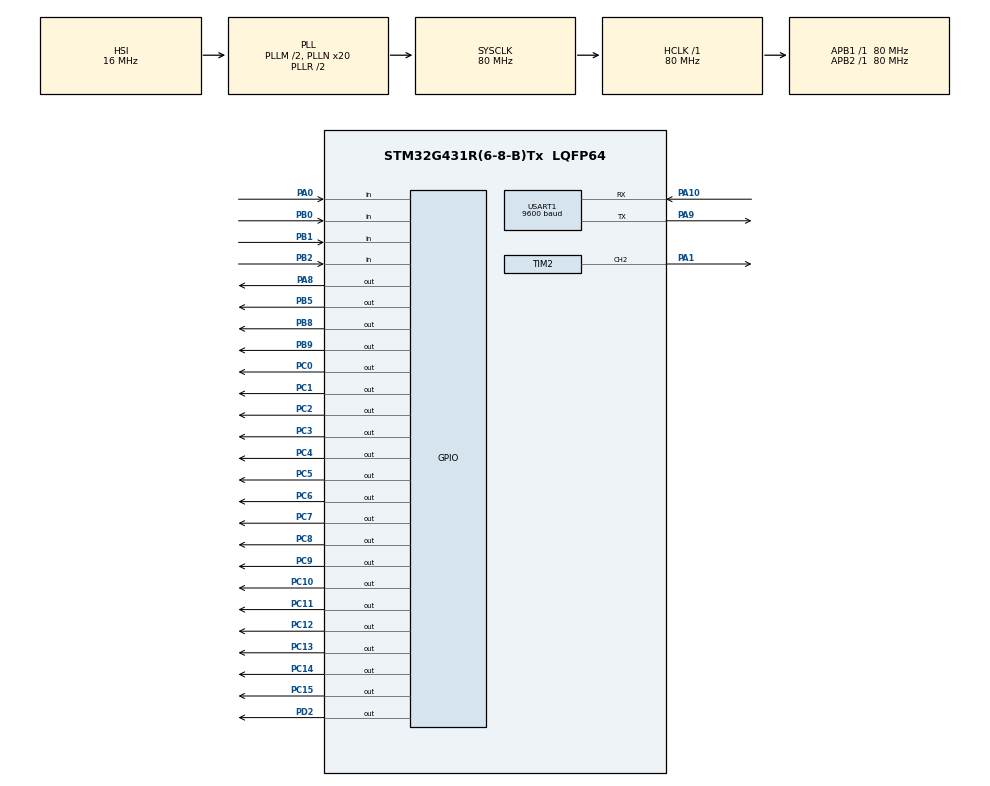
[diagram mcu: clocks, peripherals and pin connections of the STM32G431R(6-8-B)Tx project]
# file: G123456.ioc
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Mcu.Family=STM32G4
Mcu.Name=STM32G431R(6-8-B)Tx
Mcu.Package=LQFP64
NVIC.PriorityGroup=NVIC_PRIORITYGROUP_4
NVIC.TIM4_IRQn=true\:0\:0\:false\:false\:true\:true\:true
NVIC.USART1_IRQn=true\:0\:0\:false\:false\:true\:true\:true
PA0.Signal=GPIO_Input
PA1.Signal=S_TIM2_CH2
PA10.Mode=Asynchronous
PA10.Signal=USART1_RX
PA8.Signal=GPIO_Output
PA9.Mode=Asynchronous
PA9.Signal=USART1_TX
PB0.Signal=GPIO_Input
PB1.Signal=GPIO_Input
PB2.Signal=GPIO_Input
PB5.Signal=GPIO_Output
PB8-BOOT0.Signal=GPIO_Output
PB9.Signal=GPIO_Output
PC0.Signal=GPIO_Output
PC1.Signal=GPIO_Output
PC10.Signal=GPIO_Output
PC11.Signal=GPIO_Output
PC12.Signal=GPIO_Output
PC13.Signal=GPIO_Output
PC14-OSC32_IN.Signal=GPIO_Output
PC15-OSC32_OUT.Signal=GPIO_Output
PC2.Signal=GPIO_Output
PC3.Signal=GPIO_Output
PC4.Signal=GPIO_Output
PC5.Signal=GPIO_Output
PC6.Signal=GPIO_Output
PC7.Signal=GPIO_Output
PC8.Signal=GPIO_Output
PC9.Signal=GPIO_Output
PD2.Signal=GPIO_Output
PF0-OSC_IN.Mode=HSE-External-Oscillator
PF0-OSC_IN.Signal=RCC_OSC_IN
PF1-OSC_OUT.Mode=HSE-External-Oscillator
PF1-OSC_OUT.Signal=RCC_OSC_OUT
ProjectManager.HeapSize=0x200
ProjectManager.StackSize=0x400
ProjectManager.TargetToolchain=MDK-ARM V5
RCC.ADC12Freq_Value=80000000
RCC.AHBFreq_Value=80000000
RCC.APB1Freq_Value=80000000
RCC.APB1TimFreq_Value=80000000
RCC.APB2Freq_Value=80000000
RCC.APB2TimFreq_Value=80000000
RCC.CortexFreq_Value=80000000
RCC.EXTERNAL_CLOCK_VALUE=12288000
RCC.HCLKFreq_Value=80000000
RCC.HSE_VALUE=24000000
RCC.HSI48_VALUE=48000000
RCC.HSI_VALUE=16000000
RCC.LSE_VALUE=32768
RCC.PLLM=RCC_PLLM_DIV2
RCC.PLLN=20
RCC.SYSCLKFreq_VALUE=80000000
RCC.SYSCLKSource=RCC_SYSCLKSOURCE_PLLCLK
RCC.USBFreq_Value=80000000
RCC.VCOOutputFreq_Value=160000000
SH.S_TIM2_CH2.0=TIM2_CH2,PWM Generation2 CH2
TIM2.Channel-PWM\ Generation2\ CH2=TIM_CHANNEL_2
TIM2.PeriodNoDither=500-1
TIM2.Prescaler=79
TIM2.PulseNoDither_2=25
TIM4.PeriodNoDither=10000-1
TIM4.Prescaler=79
USART1.BaudRate=9600
USART1.VirtualMode-Asynchronous=VM_ASYNC
VP_SYS_VS_DBSignals.Mode=DisableDeadBatterySignals
VP_TIM4_VS_ClockSourceINT.Mode=Internal
board=custom

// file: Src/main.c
/* USER CODE BEGIN Header */
/**
  ******************************************************************************
  * @file           : main.c
  * @brief          : Main program body
  ******************************************************************************
  * @attention
  *
  * <h2><center>&copy; Copyright (c) 2021 STMicroelectronics.
  * All rights reserved.</center></h2>
  *
  * This software component is licensed by ST under BSD 3-Clause license,
  * the "License"; You may not use this file except in compliance with the
  * License. You may obtain a copy of the License at:
  *                        opensource.org/licenses/BSD-3-Clause
  *
  ******************************************************************************
  */
/* USER CODE END Header */

#include "main.h"
#include "tim.h"
#include "usart.h"
#include "gpio.h"

/* USER CODE BEGIN Includes */
#include "lcd.h"
#include "key.h"
#include "stdio.h"
#include "string.h"
#include "i2c.h"
#include "led.h"
/* USER CODE END Includes */

/* USER CODE BEGIN PTD */
extern struct keys key[4];
/* USER CODE END PTD */

void SystemClock_Config(void);

/* USER CODE BEGIN 0 */
#define DISPLAY_SHOP    0
#define DISPALY_PRICE   1
#define DISPALY_REP     2
u8      display_mode =      DISPLAY_SHOP;
u8      x_pnum = 0   ,      y_pnum = 0;
u8      x_pnum_uart = 0 ,   y_pnum_uart = 0;
u8      x_price = 10,       y_price = 10;
u8      x_store = 10,       y_store = 10;
void LCD_Process(void)
{
    char display_buf[20];
    if(display_mode == DISPLAY_SHOP)
    {
        LCD_DisplayStringLine(Line1,(unsigned char *)"        SHOP        ");
        sprintf(display_buf,"     X:%d    ",x_pnum);
        LCD_DisplayStringLine(Line3,(unsigned char *)display_buf);
        sprintf(display_buf,"     Y:%d    ",y_pnum);
        LCD_DisplayStringLine(Line4,(unsigned char *)display_buf);
    }
    else if(display_mode == DISPALY_PRICE)
    {
        LCD_DisplayStringLine(Line1,(unsigned char *)"        PRICE        ");
        sprintf(display_buf,"     X:%3.1f    ",x_price/10.0f);
        LCD_DisplayStringLine(Line3,(unsigned char *)display_buf);
        sprintf(display_buf,"     Y:%3.1f    ",y_price/10.0f);
        LCD_DisplayStringLine(Line4,(unsigned char *)display_buf);
    }
    else
    {
        LCD_DisplayStringLine(Line1,(unsigned char *)"        REP        ");
        sprintf(display_buf,"     X:%d    ",x_store);
        LCD_DisplayStringLine(Line3,(unsigned char *)display_buf);
        sprintf(display_buf,"     Y:%d    ",y_store);
        LCD_DisplayStringLine(Line4,(unsigned char *)display_buf);
    }
}

_Bool   uart_flag = 0;
_Bool   led_flag = 0;
float   all_cost = 0;
void KEY_Process(void)
{
    if(key[0].key_com == 1)
    {
        display_mode = (display_mode+1) % 3;
        key[0].key_com = 0;
    }
    if(key[1].key_com == 1)
    {
        if(display_mode == DISPLAY_SHOP)
            x_pnum = (x_pnum + 1) % (x_store + 1);
        else if(display_mode == DISPALY_PRICE)
        {
            x_price += 1;
            if(x_price > 20)
                x_price = 10;
            EEPROM_Write(0x02,x_price);
        }
        else
        {
            x_store += 1;
            EEPROM_Write(0x00,x_store);
        }
        key[1].key_com = 0;
    }
    if(key[2].key_com == 1)
    {
        if(display_mode == DISPLAY_SHOP)
            y_pnum = (y_pnum + 1) % (y_store + 1);
        else if(display_mode == DISPALY_PRICE)
        {
            y_price += 1;
            if(y_price > 20)
                y_price = 10;
            EEPROM_Write(0x03,y_price);
        }
        else
        {
            y_store += 1;
            EEPROM_Write(0x01,y_store);
        }
        key[2].key_com = 0;
    }
    if(key[3].key_com == 1)
    {
         if(display_mode == DISPLAY_SHOP)
         {
             x_store    -= x_pnum;
             y_store    -= y_pnum;
             all_cost    = x_pnum * x_price + y_pnum * y_price;
             x_pnum_uart = x_pnum;
             y_pnum_uart = y_pnum;
             x_pnum      = 0;
             y_pnum      = 0;
             EEPROM_Write(0x00,x_store);
             HAL_Delay(10);
             EEPROM_Write(0x01,y_store);
             uart_flag   = 1;
             led_flag    = 1;
         }
         key[3].key_com = 0;
    }
}

u8  rx_buf[2];
u8  rx_dat;
u8  rx_pointer;
u32 uartTick = 0;
void HAL_UART_RxCpltCallback(UART_HandleTypeDef *huart)
{
    uartTick = uwTick;
    rx_buf[rx_pointer++] = rx_dat;
    HAL_UART_Receive_IT(&huart1, &rx_dat, 1);
}

void RxIdle_Process(void)
{
    if(uwTick - uartTick < 50) return;
    uartTick = uwTick;

    if(uart_flag == 1)
    {
        char text[20];
        sprintf(text,"X:%d,Y:%d,Z:%3.1f\r\n",x_pnum_uart,y_pnum_uart,all_cost/10.0f);
        HAL_UART_Transmit(&huart1, (u8*)text, strlen(text), 50);
        uart_flag = 0;
    }
    if(rx_pointer == 1)
    {
        if(rx_buf[0] == '?')
        {
            char text[20];
            sprintf(text,"X:%3.1f,Y:%3.1f\r\n",x_price/10.0f,y_price/10.0f);
            HAL_UART_Transmit(&huart1, (u8*)text, strlen(text), 50);
        }
    }
    rx_pointer = 0;
    memset(&rx_buf,0,2);
}

u8  led_contrl = 0;
u32 ledTick = 0;
void LED_Process(void)
{
    if(uwTick - ledTick < 100) return;
    ledTick = uwTick;
    if (led_flag == 1)
        led_contrl |= 0x01;
    if(x_store == 0 && y_store == 0)
        led_contrl ^= 0x02;
    else
        led_contrl &= ~0x02;
    LED_Contrl(led_contrl);
}

u16 led_time;
void SysTick_Handler(void)
{
  HAL_IncTick();
  if (led_flag == 1)
  {
      led_time++;
      TIM2->CCR1 = 150;
      if(led_time >= 5000)
      {
          led_contrl &= ~0x01;
          TIM2->CCR1 = 25;
          led_time = 0;
          led_flag = 0;
      }
  }
}
/* USER CODE END 0 */

int main(void)
{

  /* MCU Configuration--------------------------------------------------------*/

  /* Reset of all peripherals, Initializes the Flash interface and the Systick. */
  HAL_Init();

  /* Configure the system clock */
  SystemClock_Config();

  /* Initialize all configured peripherals */
  MX_GPIO_Init();
  MX_TIM4_Init();
  MX_USART1_UART_Init();
  MX_TIM2_Init();
  /* USER CODE BEGIN 2 */
  I2CInit();
	if(EEPROM_Read(0xf0) != 0xaa)
    {
        EEPROM_Write(0xf0,0xaa);
        EEPROM_Write(0x00,x_store);
        EEPROM_Write(0x01,y_store);
        EEPROM_Write(0x02,x_price);
        EEPROM_Write(0x03,y_price);
    }
    x_store = EEPROM_Read(0x00);
    y_store = EEPROM_Read(0x01);
    x_price = EEPROM_Read(0x02);
    y_price = EEPROM_Read(0x03);

	LCD_Init();
    LCD_Clear(Black);
	LCD_SetBackColor(Black);
	LCD_SetTextColor(White);
	HAL_UART_Receive_IT(&huart1, &rx_dat, 1);
    HAL_TIM_Base_Start_IT(&htim4);
  /* USER CODE END 2 */

  /* Infinite loop */
  while (1)
  {

    /* USER CODE BEGIN 3 */
      LCD_Process();
      KEY_Process();
      LED_Process();
      RxIdle_Process();
  }
  /* USER CODE END 3 */
}

void SystemClock_Config(void)
{
  RCC_OscInitTypeDef RCC_OscInitStruct = {0};
  RCC_ClkInitTypeDef RCC_ClkInitStruct = {0};
  RCC_PeriphCLKInitTypeDef PeriphClkInit = {0};

  /** Configure the main internal regulator output voltage
  */
  HAL_PWREx_ControlVoltageScaling(PWR_REGULATOR_VOLTAGE_SCALE1);
  /** Initializes the CPU, AHB and APB busses clocks
  */
  RCC_OscInitStruct.OscillatorType = RCC_OSCILLATORTYPE_HSI;
  RCC_OscInitStruct.HSIState = RCC_HSI_ON;
  RCC_OscInitStruct.HSICalibrationValue = RCC_HSICALIBRATION_DEFAULT;
  RCC_OscInitStruct.PLL.PLLState = RCC_PLL_ON;
  RCC_OscInitStruct.PLL.PLLSource = RCC_PLLSOURCE_HSI;
  RCC_OscInitStruct.PLL.PLLM = RCC_PLLM_DIV2;
  RCC_OscInitStruct.PLL.PLLN = 20;
  RCC_OscInitStruct.PLL.PLLP = RCC_PLLP_DIV2;
  RCC_OscInitStruct.PLL.PLLQ = RCC_PLLQ_DIV2;
  RCC_OscInitStruct.PLL.PLLR = RCC_PLLR_DIV2;
  if (HAL_RCC_OscConfig(&RCC_OscInitStruct) != HAL_OK)
  {
    Error_Handler();
  }
  /** Initializes the CPU, AHB and APB busses clocks
  */
  RCC_ClkInitStruct.ClockType = RCC_CLOCKTYPE_HCLK|RCC_CLOCKTYPE_SYSCLK
                              |RCC_CLOCKTYPE_PCLK1|RCC_CLOCKTYPE_PCLK2;
  RCC_ClkInitStruct.SYSCLKSource = RCC_SYSCLKSOURCE_PLLCLK;
  RCC_ClkInitStruct.AHBCLKDivider = RCC_SYSCLK_DIV1;
  RCC_ClkInitStruct.APB1CLKDivider = RCC_HCLK_DIV1;
  RCC_ClkInitStruct.APB2CLKDivider = RCC_HCLK_DIV1;

  if (HAL_RCC_ClockConfig(&RCC_ClkInitStruct, FLASH_LATENCY_3) != HAL_OK)
  {
    Error_Handler();
  }
  /** Initializes the peripherals clocks
  */
  PeriphClkInit.PeriphClockSelection = RCC_PERIPHCLK_USART1;
  PeriphClkInit.Usart1ClockSelection = RCC_USART1CLKSOURCE_PCLK2;
  if (HAL_RCCEx_PeriphCLKConfig(&PeriphClkInit) != HAL_OK)
  {
    Error_Handler();
  }
}

void Error_Handler(void)
{
}

/************************ (C) COPYRIGHT STMicroelectronics *****END OF FILE****/
